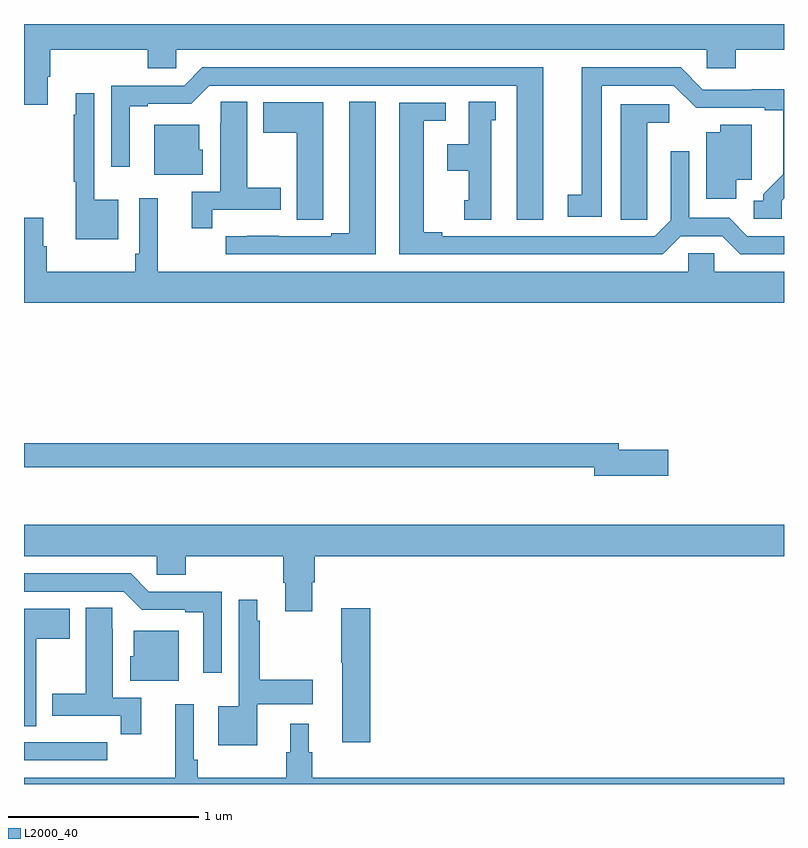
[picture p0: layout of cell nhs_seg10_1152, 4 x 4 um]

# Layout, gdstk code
import gdstk
lib = gdstk.Library(unit=1e-6, precision=1e-09)
def P(c, l, *ps):  # polygons
    for p in ps: c.add(gdstk.Polygon(p, *l))
L2000_40 = (2000, 40)

nhs_seg10_1152 = lib.new_cell('nhs_seg10_1152')
P(nhs_seg10_1152, L2000_40, [(171.124,1252.222),(171.137,1252.222),(171.137,1252.364),(171.65,1252.364),(171.65,1252.266),(171.801,1252.266),(171.801,1252.364),(174.594,1252.364),(174.594,1252.266),(174.746,1252.266),(174.746,1252.364),(175,1252.364),(175,1252.5),(171,1252.5),(171,1252.074),(171.124,1252.074)],
  [(173.734,1252.272),(171.939,1252.272),(171.843,1252.176),(171.459,1252.176),(171.459,1251.75),(171.556,1251.75),(171.556,1252.068),(171.652,1252.068),(171.652,1252.08),(171.879,1252.08),(171.975,1252.176),(173.594,1252.176),(173.594,1251.471),(173.734,1251.471)],
  [(174.987,1251.57),(175,1251.583),(175,1252.157),(174.829,1252.157),(174.829,1252.155),(174.573,1252.155),(174.456,1252.272),(173.936,1252.272),(173.936,1251.602),(173.862,1251.602),(173.862,1251.486),(174.04,1251.486),(174.04,1252.176),(174.42,1252.176),(174.537,1252.059),(174.899,1252.059),(174.899,1252.047),(174.995,1252.047),(174.995,1251.71),(174.89,1251.605),(174.89,1251.57),(174.84,1251.57),(174.84,1251.474),(174.987,1251.474)],
  [(171.496,1251.574),(171.369,1251.574),(171.369,1252.135),(171.272,1252.135),(171.272,1252.022),(171.261,1252.022),(171.261,1251.67),(171.272,1251.67),(171.272,1251.368),(171.496,1251.368)],
  [(172.852,1252.091),(172.712,1252.091),(172.712,1251.399),(172.616,1251.399),(172.616,1251.384),(172.34,1251.384),(172.34,1251.385),(172.174,1251.385),(172.174,1251.384),(172.062,1251.384),(172.062,1251.288),(172.852,1251.288)],
  [(171.992,1251.522),(172.351,1251.522),(172.351,1251.639),(172.174,1251.639),(172.174,1252.091),(172.035,1252.091),(172.035,1251.98),(172.034,1251.98),(172.034,1251.618),(171.884,1251.618),(171.884,1251.426),(171.992,1251.426)],
  [(173.458,1251.993),(173.482,1251.993),(173.482,1252.091),(173.342,1252.091),(173.342,1251.868),(173.228,1251.868),(173.228,1251.728),(173.342,1251.728),(173.342,1251.573),(173.318,1251.573),(173.318,1251.471),(173.458,1251.471)],
  [(172.575,1251.577),(172.576,1251.577),(172.576,1252.087),(172.259,1252.087),(172.259,1251.928),(172.436,1251.928),(172.436,1251.469),(172.575,1251.469)],
  [(174.457,1251.384),(174.675,1251.384),(174.771,1251.288),(175,1251.288),(175,1251.384),(174.807,1251.384),(174.711,1251.48),(174.501,1251.48),(174.501,1251.829),(174.405,1251.829),(174.405,1251.468),(174.321,1251.384),(173.2,1251.384),(173.2,1251.404),(173.104,1251.404),(173.104,1251.99),(173.221,1251.99),(173.221,1252.086),(172.976,1252.086),(172.976,1251.288),(174.361,1251.288)],
  [(174.279,1251.577),(174.28,1251.577),(174.28,1251.98),(174.397,1251.98),(174.397,1252.077),(174.14,1252.077),(174.14,1251.469),(174.279,1251.469)],
  [(174.748,1251.68),(174.829,1251.68),(174.829,1251.97),(174.665,1251.97),(174.665,1251.931),(174.59,1251.931),(174.59,1251.579),(174.748,1251.579)],
  [(171.94,1251.837),(171.922,1251.837),(171.922,1251.97),(171.686,1251.97),(171.686,1251.707),(171.94,1251.707)],
  [(175,1251.196),(174.633,1251.196),(174.633,1251.294),(174.495,1251.294),(174.495,1251.196),(171.704,1251.196),(171.704,1251.583),(171.606,1251.583),(171.606,1251.292),(171.586,1251.292),(171.586,1251.196),(171.119,1251.196),(171.119,1251.33),(171.1,1251.33),(171.1,1251.481),(171.002,1251.481),(171.002,1251.33),(171,1251.33),(171,1251.032),(175,1251.032)],
  [(174.391,1250.258),(174.13,1250.258),(174.13,1250.294),(171,1250.294),(171,1250.166),(174.002,1250.166),(174.002,1250.123),(174.391,1250.123)],
  [(172.516,1249.563),(172.529,1249.563),(172.529,1249.7),(175,1249.7),(175,1249.864),(171,1249.864),(171,1249.7),(171.699,1249.7),(171.699,1249.602),(171.851,1249.602),(171.851,1249.7),(172.364,1249.7),(172.364,1249.558),(172.376,1249.558),(172.376,1249.41),(172.516,1249.41)],
  [(172.041,1249.512),(171.657,1249.512),(171.561,1249.608),(171,1249.608),(171,1249.512),(171.525,1249.512),(171.621,1249.416),(171.848,1249.416),(171.848,1249.404),(171.944,1249.404),(171.944,1249.086),(172.041,1249.086)],
  [(172.228,1248.92),(172.519,1248.92),(172.519,1249.05),(172.24,1249.05),(172.24,1249.358),(172.228,1249.358),(172.228,1249.471),(172.131,1249.471),(172.131,1248.91),(172.022,1248.91),(172.022,1248.704),(172.228,1248.704)],
  [(171.617,1248.954),(171.466,1248.954),(171.466,1249.316),(171.465,1249.316),(171.465,1249.427),(171.326,1249.427),(171.326,1248.975),(171.149,1248.975),(171.149,1248.858),(171.508,1248.858),(171.508,1248.762),(171.617,1248.762)],
  [(172.823,1249.426),(172.669,1249.426),(172.669,1249.138),(172.676,1249.138),(172.676,1248.72),(172.823,1248.72)],
  [(171.064,1249.264),(171.241,1249.264),(171.241,1249.423),(171,1249.423),(171,1248.805),(171.064,1248.805)],
  [(171.814,1249.306),(171.578,1249.306),(171.578,1249.173),(171.56,1249.173),(171.56,1249.043),(171.814,1249.043)],
  [(175,1248.532),(172.517,1248.532),(172.517,1248.666),(172.498,1248.666),(172.498,1248.817),(172.4,1248.817),(172.4,1248.666),(172.381,1248.666),(172.381,1248.532),(171.914,1248.532),(171.914,1248.628),(171.894,1248.628),(171.894,1248.919),(171.797,1248.919),(171.797,1248.532),(171,1248.532),(171,1248.5),(175,1248.5)],
  [(171.439,1248.72),(171.326,1248.72),(171.326,1248.721),(171.16,1248.721),(171.16,1248.72),(171,1248.72),(171,1248.624),(171.439,1248.624)])

lib.write_gds('nhs_seg10_1152.gds')
